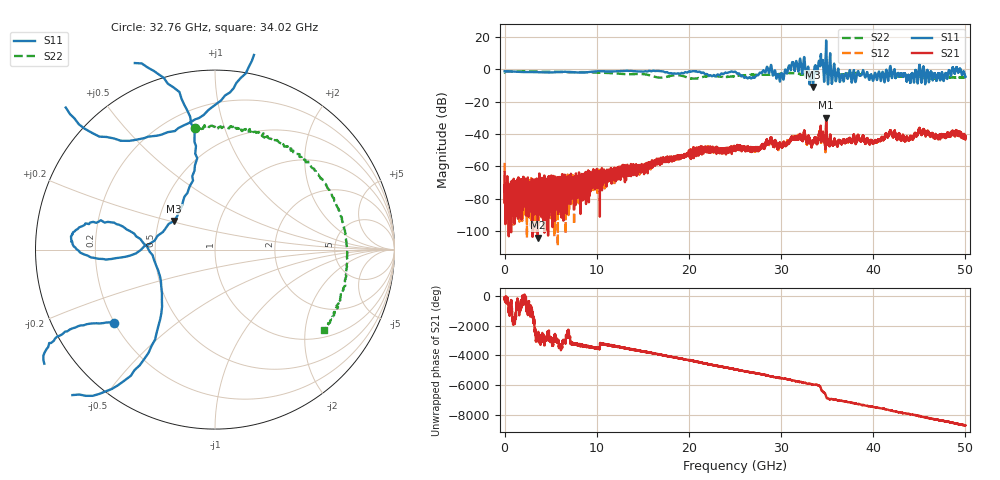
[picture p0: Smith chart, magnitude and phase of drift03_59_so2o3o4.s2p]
!Created with skrf (http://scikit-rf.org).
# Hz S RI R 50.0
!freq ReS11 ImS11 ReS21 ImS21 ReS12 ImS12 ReS22 ImS22
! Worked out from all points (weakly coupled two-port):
!   10001 points, 300 kHz to 50 GHz, reference 50 ohm
!   highest |S21| = -29.90 dB at 34.89 GHz (marker M1); lowest = -104.0 dB at 3.595 GHz (marker M2)
!   lowest |S11| = -11.1 dB at 33.47 GHz (marker M3), VSWR 1.77, Z = 30.1 + j10.4 ohm
!   |S11| at or under -10 dB: 33.44787 GHz to 33.48413 GHz (36.26 MHz wide, 0.108 % of centre)
!   |S22| runs from -5.9 to -1.3 dB; largest |S21 - S12| = 0.0057
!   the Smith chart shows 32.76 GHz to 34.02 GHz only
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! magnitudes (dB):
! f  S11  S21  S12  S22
! 300 kHz  -1.3  -63.5  -57.8  -2.1
! 330.3 MHz  -1.3  -74.2  -75.2  -1.4
! 3.595 GHz  -1.9  -104.0  -83.4  -1.5
! 8.335 GHz  -2.2  -75.3  -68.3  -1.9
! 16.67 GHz  -1.1  -56.8  -56.8  -5.2
! 25 GHz  -1.5  -48.5  -49.4  -4.3
! 26.92 GHz  -4.9  -49.1  -49.8  -3.5
! 28.73 GHz  -2.2  -45.4  -46.0  -3.5
! 30.06 GHz  -2.5  -48.0  -47.8  -2.8
! 31.87 GHz  -1.4  -43.3  -41.9  -2.9
! 33.34 GHz  -2.2  -46.8  -47.1  -2.9
! 33.47 GHz  -11.1  -44.3  -44.7  -2.8
! 34.3 GHz  7.7  -34.9  -35.3  -2.3
! 34.89 GHz  17.7  -29.9  -31.5  -2.3
! 36.58 GHz  -3.4  -45.8  -45.7  -3.6
! 40.17 GHz  -2.6  -45.0  -44.6  -3.7
! 41.67 GHz  -5.5  -40.8  -40.3  -3.7
! 43.84 GHz  -3.6  -43.8  -43.6  -3.9
! 45.21 GHz  -7.1  -39.6  -39.6  -4.6
! 47.06 GHz  -2.6  -42.2  -42.1  -5.1
! 49.21 GHz  -2.0  -39.4  -39.7  -5.1
! 50 GHz  -4.8  -41.5  -41.9  -5.0
